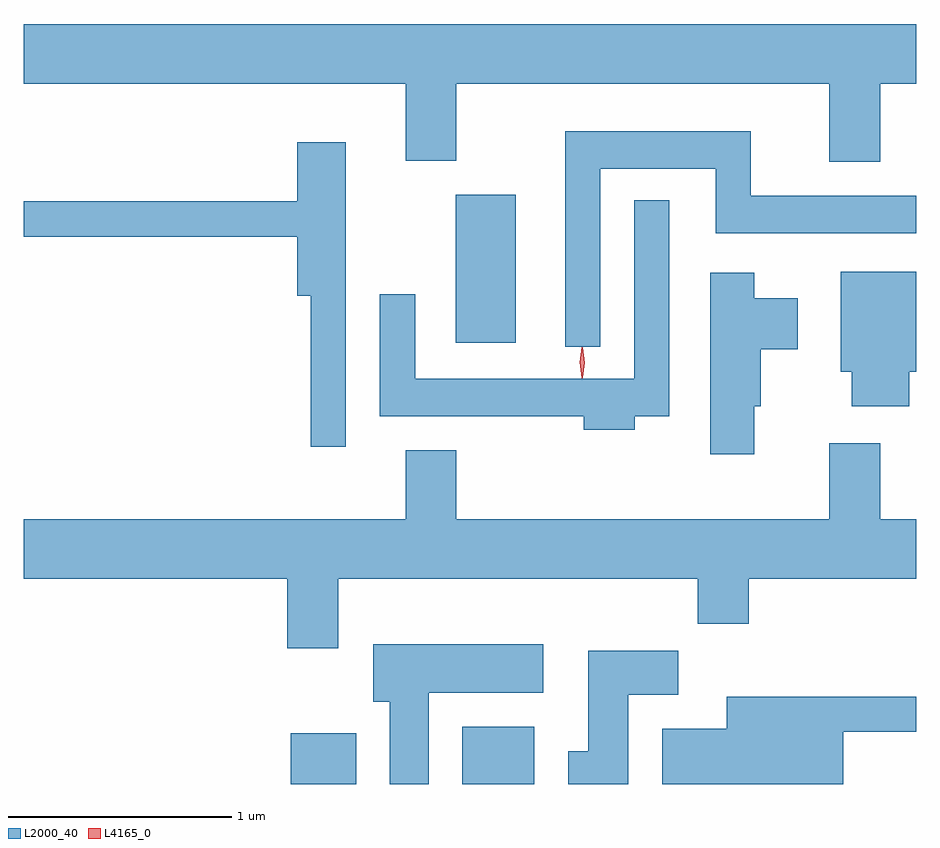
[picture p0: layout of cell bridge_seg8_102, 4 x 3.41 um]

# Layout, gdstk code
import gdstk
lib = gdstk.Library(unit=1e-6, precision=1e-09)
def R(c, l, rs):  # rectangles x0, y0, x1, y1
    for r in rs: c.add(gdstk.rectangle(r[:2], r[2:], *l))
def P(c, l, *ps):  # polygons
    for p in ps: c.add(gdstk.Polygon(p, *l))
L2000_40 = (2000, 40)
L4165_0 = (4165, 0)

bridge_seg8_102 = lib.new_cell('bridge_seg8_102')
R(bridge_seg8_102, L2000_40, [(1536.536,1813.297,1536.829,1813.524), (1537.306,1813.297,1537.629,1813.554), (1537.276,1815.276,1537.544,1815.939)])
P(bridge_seg8_102, L2000_40, [(1539.179,1816.436),(1539.34,1816.436),(1539.34,1816.704),(1535.34,1816.704),(1535.34,1816.436),(1537.051,1816.436),(1537.051,1816.091),(1537.279,1816.091),(1537.279,1816.436),(1538.951,1816.436),(1538.951,1816.086),(1539.179,1816.086)],
  [(1537.924,1816.056),(1538.441,1816.056),(1538.441,1815.766),(1539.34,1815.766),(1539.34,1815.934),(1538.599,1815.934),(1538.599,1816.224),(1537.766,1816.224),(1537.766,1815.258),(1537.924,1815.258)],
  [(1536.784,1816.174),(1536.566,1816.174),(1536.566,1815.909),(1535.34,1815.909),(1535.34,1815.751),(1536.566,1815.751),(1536.566,1815.486),(1536.626,1815.486),(1536.626,1814.808),(1536.784,1814.808)],
  [(1538.079,1814.946),(1538.234,1814.946),(1538.234,1815.913),(1538.076,1815.913),(1538.076,1815.114),(1537.094,1815.114),(1537.094,1815.493),(1536.936,1815.493),(1536.936,1814.946),(1537.851,1814.946),(1537.851,1814.886),(1538.079,1814.886)],
  [(1539.309,1815.146),(1539.34,1815.146),(1539.34,1815.594),(1539.001,1815.594),(1539.001,1815.146),(1539.051,1815.146),(1539.051,1814.991),(1539.309,1814.991)],
  [(1538.614,1814.991),(1538.644,1814.991),(1538.644,1815.246),(1538.809,1815.246),(1538.809,1815.474),(1538.614,1815.474),(1538.614,1815.589),(1538.416,1815.589),(1538.416,1814.776),(1538.614,1814.776)],
  [(1536.749,1814.216),(1538.361,1814.216),(1538.361,1814.016),(1538.589,1814.016),(1538.589,1814.216),(1539.34,1814.216),(1539.34,1814.484),(1539.179,1814.484),(1539.179,1814.824),(1538.951,1814.824),(1538.951,1814.484),(1537.279,1814.484),(1537.279,1814.794),(1537.051,1814.794),(1537.051,1814.484),(1535.34,1814.484),(1535.34,1814.216),(1536.521,1814.216),(1536.521,1813.906),(1536.749,1813.906)],
  [(1537.154,1813.706),(1537.669,1813.706),(1537.669,1813.924),(1536.906,1813.924),(1536.906,1813.666),(1536.981,1813.666),(1536.981,1813.297),(1537.154,1813.297)],
  [(1538.049,1813.696),(1538.274,1813.696),(1538.274,1813.894),(1537.871,1813.894),(1537.871,1813.444),(1537.781,1813.444),(1537.781,1813.297),(1538.049,1813.297)],
  [(1539.014,1813.531),(1539.34,1813.531),(1539.34,1813.689),(1538.491,1813.689),(1538.491,1813.544),(1538.201,1813.544),(1538.201,1813.297),(1539.014,1813.297)])
P(bridge_seg8_102, L4165_0, [(1537.845,1815.119),(1537.844,1815.12),(1537.835,1815.186),(1537.844,1815.252),(1537.845,1815.253),(1537.845,1815.252),(1537.855,1815.186),(1537.845,1815.12)],
  [(1537.842,1815.117),(1537.833,1815.187),(1537.842,1815.256),(1537.843,1815.256),(1537.843,1815.256),(1537.853,1815.187),(1537.843,1815.117),(1537.843,1815.117)])

lib.write_gds('bridge_seg8_102.gds')
